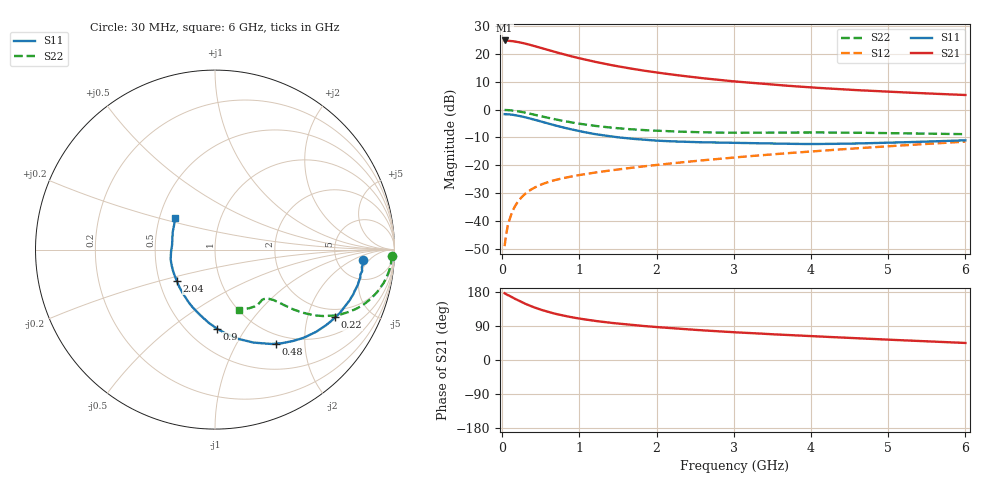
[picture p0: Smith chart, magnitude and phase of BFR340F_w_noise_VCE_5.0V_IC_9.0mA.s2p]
! Infineon Technologies  Discrete & RF Semiconductors
! BFR340F
! VCE =  5.0 V,  IC =  9.0 mA
! Common Emitter S-Parameters:  Nov 2015
# GHz  S  MA  R  50
!  f  S11  S21  S12  S22
! GHz  MAG  ANG  MAG  ANG  MAG  ANG  MAG  ANG
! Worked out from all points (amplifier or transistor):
!   206 points, 30 MHz to 6 GHz, reference 50 ohm
!   highest |S21| = 24.9 dB at 30 MHz (marker M1)
!   |S21| within 3 dB of that: start of sweep to 540.5 MHz
!   unconditionally stable (mu >= 1): 2.526 GHz to 5.344 GHz
!   at 200 MHz: K = 0.17, MSG = 28.8 dB, |S12| = -33.2 dB
!   at 1.56 GHz: K = 0.86, MSG = 18.3 dB, |S12| = -21.3 dB
!   at 6 GHz: K = 0.98, MSG = 8.4 dB, |S12| = -11.5 dB
!   lowest NFmin = 1.39 dB at 450 MHz
!   S11 on the Smith chart (normalised r, x): 30 MHz: 9, -3; 220 MHz: 1.63, -3.00; 480 MHz: 0.86, -1.47; 900 MHz: 0.69, -0.75; 2.04 GHz: 0.62, -0.23; 6 GHz: 0.61, +0.23
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0.03  0.8291 -4.0  17.54 176.1  0.0035 87.1  0.985 -2.0
0.05  0.8237 -6.8  17.36 173.4  0.0056 85.3  0.9838 -3.6
0.07  0.8223 -9.6  17.41 171.4  0.0081 84.9  0.9823 -5.2
0.14  0.8048 -19.3  16.99 164.2  0.0157 80.0  0.9616 -10.4
0.22  0.7684 -29.4  16.25 155.9  0.0237 75.3  0.9245 -15.8
0.28  0.737 -36.6  15.59 150.1  0.0291 72.2  0.8916 -19.4
0.34  0.7043 -43.3  14.87 144.7  0.034 69.6  0.8561 -22.5
0.4  0.6695 -49.5  14.11 139.9  0.0384 67.3  0.82 -25.1
0.48  0.6237 -57.2  13.13 134.1  0.0435 64.8  0.7734 -28.1
0.6  0.5601 -67.6  11.76 126.4  0.0501 62.1  0.7088 -31.5
0.7  0.5143 -75.3  10.75 121.2  0.0548 60.7  0.6621 -33.6
0.9  0.4401 -88.7  9.067 112.7  0.0629 59.2  0.587 -36.2
1.04  0.3995 -96.9  8.14 108.0  0.068 59.0  0.5476 -37.4
1.28  0.3496 -109.7  6.878 101.1  0.0764 59.2  0.4961 -38.7
1.5  0.3177 -120.0  6.004 96.0  0.0839 59.7  0.4624 -39.6
2.02  0.2762 -140.0  4.614 86.6  0.1019 61.4  0.4162 -41.6
2.04  0.2753 -140.6  4.575 86.3  0.1026 61.4  0.4151 -41.7
2.6  0.2586 -157.9  3.669 78.2  0.1227 62.9  0.3908 -44.5
3.1  0.2512 -169.0  3.138 72.3  0.1414 63.7  0.3841 -47.4
4.1  0.2409 172.8  2.458 62.0  0.1809 64.2  0.3886 -52.6
5.1  0.2564 156.0  2.071 52.8  0.2237 63.5  0.377 -60.2
6  0.2806 141.8  1.833 45.0  0.266 62.1  0.3618 -68.2
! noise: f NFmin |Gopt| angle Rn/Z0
0.45  1.39  0.29  0  0.28
0.9  1.47  0.28  10  0.31
1.9  1.87  0.14  0  0.29
2.4  2.1  0.08  -1  0.3
